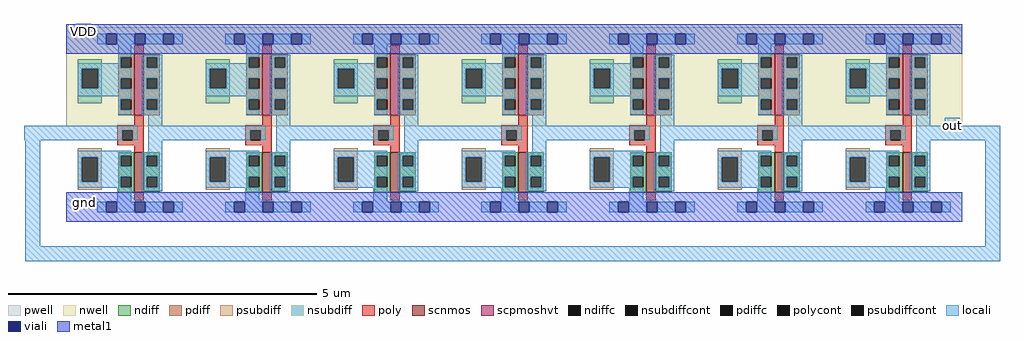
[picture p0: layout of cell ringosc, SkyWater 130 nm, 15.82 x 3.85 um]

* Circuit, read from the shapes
.subckt ringosc out VDD gnd
XM1 inv1_0_1/A out gnd gnd sky130_fd_pr__nfet_01v8 w=0.65 l=0.15
XM2 inv1_0_2/A inv1_0_1/A gnd gnd sky130_fd_pr__nfet_01v8 w=0.65 l=0.15
XM3 inv1_0_3/A inv1_0_2/A gnd gnd sky130_fd_pr__nfet_01v8 w=0.65 l=0.15
XM4 inv1_0_4/A inv1_0_3/A gnd gnd sky130_fd_pr__nfet_01v8 w=0.65 l=0.15
XM5 inv1_0_5/A inv1_0_4/A gnd gnd sky130_fd_pr__nfet_01v8 w=0.65 l=0.15
XM6 inv1_0_6/A inv1_0_5/A gnd gnd sky130_fd_pr__nfet_01v8 w=0.65 l=0.15
XM7 out inv1_0_6/A gnd gnd sky130_fd_pr__nfet_01v8 w=0.65 l=0.15
XM8 inv1_0_1/A out VDD VDD sky130_fd_pr__pfet_01v8_hvt w=1 l=0.15
XM9 inv1_0_2/A inv1_0_1/A VDD VDD sky130_fd_pr__pfet_01v8_hvt w=1 l=0.15
XM10 inv1_0_3/A inv1_0_2/A VDD VDD sky130_fd_pr__pfet_01v8_hvt w=1 l=0.15
XM11 inv1_0_4/A inv1_0_3/A VDD VDD sky130_fd_pr__pfet_01v8_hvt w=1 l=0.15
XM12 inv1_0_5/A inv1_0_4/A VDD VDD sky130_fd_pr__pfet_01v8_hvt w=1 l=0.15
XM13 inv1_0_6/A inv1_0_5/A VDD VDD sky130_fd_pr__pfet_01v8_hvt w=1 l=0.15
XM14 out inv1_0_6/A VDD VDD sky130_fd_pr__pfet_01v8_hvt w=1 l=0.15
.ends

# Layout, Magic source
magic
tech sky130A
magscale 1 2
<< locali >>
rect 2747 263 2795 289
rect -238 215 28 263
rect 2740 215 2926 263
rect -234 -128 -186 215
rect 2878 -128 2926 215
rect -234 -176 2926 -128
<< metal1 >>
rect -69 545 -21 593
rect -65 -10 -17 38
use inv1  inv1_0 layout
array 0 6 415 0 0 640
transform 1 0 0 0 1 0
box -101 -48 314 592
<< labels >>
flabel metal1 -69 545 -21 593 1 FreeSans 400 0 0 0 VDD
port 2 n
flabel metal1 -65 -10 -17 38 1 FreeSans 400 0 0 0 gnd
port 3 n
flabel locali 2747 241 2795 289 1 FreeSans 400 0 0 0 out
port 1 n
<< end >>

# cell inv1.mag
magic
tech sky130A
magscale 1 2
<< nwell >>
rect -101 261 314 582
<< pwell >>
rect 29 -17 63 17
<< scnmos >>
rect 120 47 150 177
<< scpmoshvt >>
rect 120 297 150 497
<< ndiff >>
rect 68 165 120 177
rect 68 131 76 165
rect 110 131 120 165
rect 68 97 120 131
rect 68 63 76 97
rect 110 63 120 97
rect 68 47 120 63
rect 150 165 202 177
rect 150 131 160 165
rect 194 131 202 165
rect 150 97 202 131
rect 150 63 160 97
rect 194 63 202 97
rect 150 47 202 63
<< pdiff >>
rect 68 485 120 497
rect 68 451 76 485
rect 110 451 120 485
rect 68 417 120 451
rect 68 383 76 417
rect 110 383 120 417
rect 68 349 120 383
rect 68 315 76 349
rect 110 315 120 349
rect 68 297 120 315
rect 150 485 202 497
rect 150 451 160 485
rect 194 451 202 485
rect 150 417 202 451
rect 150 383 160 417
rect 194 383 202 417
rect 150 349 202 383
rect 150 315 160 349
rect 194 315 202 349
rect 150 297 202 315
<< ndiffc >>
rect 76 131 110 165
rect 76 63 110 97
rect 160 131 194 165
rect 160 63 194 97
<< pdiffc >>
rect 76 451 110 485
rect 76 383 110 417
rect 76 315 110 349
rect 160 451 194 485
rect 160 383 194 417
rect 160 315 194 349
<< psubdiff >>
rect -64 160 14 190
rect -64 81 -51 160
rect 1 81 14 160
rect -64 55 14 81
<< nsubdiff >>
rect -64 448 14 479
rect -64 385 -51 448
rect 3 385 14 448
rect -64 336 14 385
<< psubdiffcont >>
rect -51 81 1 160
<< nsubdiffcont >>
rect -51 385 3 448
<< poly >>
rect 120 497 150 523
rect 120 265 150 297
rect 64 249 150 265
rect 64 215 80 249
rect 114 215 150 249
rect 64 199 150 215
rect 120 177 150 199
rect 120 21 150 47
<< polycont >>
rect 80 215 114 249
<< locali >>
rect 0 527 29 561
rect 63 527 121 561
rect 155 527 213 561
rect 247 527 276 561
rect 68 485 110 527
rect 68 466 76 485
rect -64 451 76 466
rect -64 448 110 451
rect -64 385 -51 448
rect 3 417 110 448
rect 3 385 76 417
rect -64 383 76 385
rect -64 359 110 383
rect 68 349 110 359
rect 68 315 76 349
rect 68 299 110 315
rect 144 485 210 493
rect 144 451 160 485
rect 194 451 210 485
rect 144 417 210 451
rect 144 383 160 417
rect 194 383 210 417
rect 144 349 210 383
rect 144 315 160 349
rect 194 315 210 349
rect 144 297 210 315
rect 164 263 210 297
rect -101 249 130 263
rect -101 215 80 249
rect 114 215 130 249
rect 164 215 314 263
rect -64 165 110 181
rect 164 177 210 215
rect -64 160 76 165
rect -64 81 -51 160
rect 1 131 76 160
rect 1 97 110 131
rect 1 81 76 97
rect -64 63 76 81
rect -64 62 110 63
rect 64 17 110 62
rect 144 165 210 177
rect 144 131 160 165
rect 194 131 210 165
rect 144 97 210 131
rect 144 63 160 97
rect 194 63 210 97
rect 144 51 210 63
rect 0 -17 29 17
rect 63 -17 121 17
rect 155 -17 213 17
rect 247 -17 276 17
<< viali >>
rect 29 527 63 561
rect 121 527 155 561
rect 213 527 247 561
rect 29 -17 63 17
rect 121 -17 155 17
rect 213 -17 247 17
<< metal1 >>
rect -101 561 314 592
rect -101 527 29 561
rect 63 527 121 561
rect 155 527 213 561
rect 247 527 314 561
rect -101 496 314 527
rect -101 17 314 48
rect -101 -17 29 17
rect 63 -17 121 17
rect 155 -17 213 17
rect 247 -17 314 17
rect -101 -48 314 -17
<< labels >>
flabel locali s 164 289 198 323 0 FreeSans 340 0 0 0 Y
port 1 nsew
flabel locali s 72 221 106 255 0 FreeSans 340 0 0 0 A
port 2 nsew
flabel metal1 s 29 -17 63 17 0 FreeSans 200 0 0 0 VGND
port 3 nsew
flabel metal1 s 29 527 63 561 0 FreeSans 200 0 0 0 VPWR
port 4 nsew
rlabel comment s 0 0 0 0 4 inv_1
<< properties >>
string FIXED_BBOX 0 0 276 544
string path 0.000 0.000 1.380 0.000 
<< end >>
